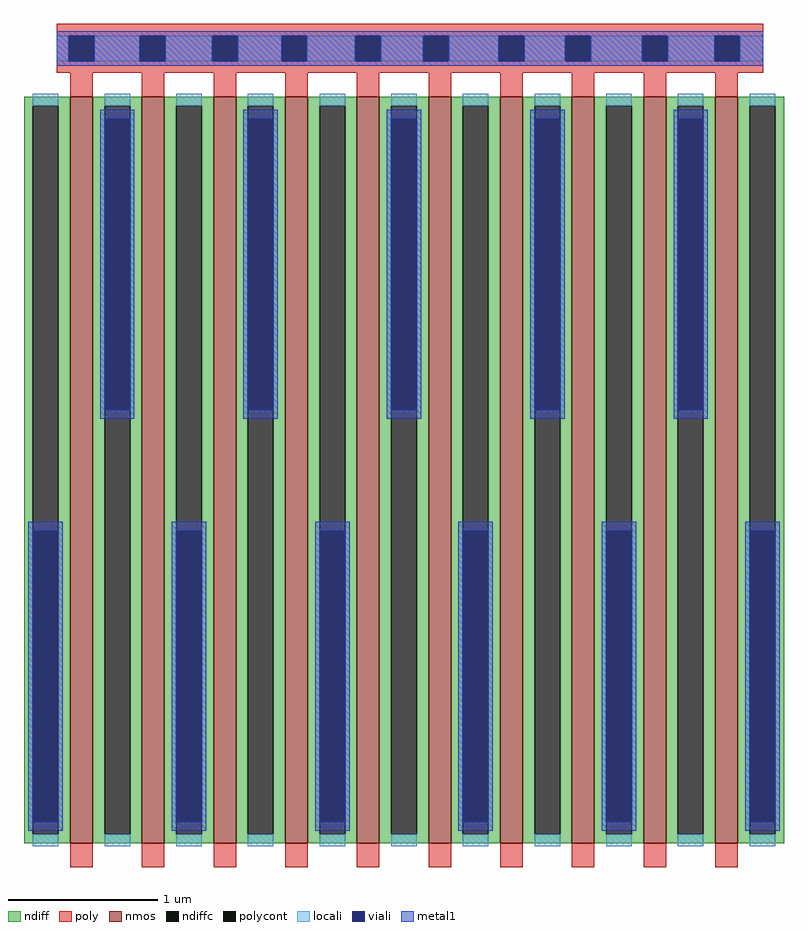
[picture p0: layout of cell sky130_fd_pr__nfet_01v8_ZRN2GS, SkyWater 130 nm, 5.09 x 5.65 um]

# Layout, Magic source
magic
tech sky130A
magscale 1 2
<< nmos >>
rect -447 -500 -417 500
rect -351 -500 -321 500
rect -255 -500 -225 500
rect -159 -500 -129 500
rect -63 -500 -33 500
rect 33 -500 63 500
rect 129 -500 159 500
rect 225 -500 255 500
rect 321 -500 351 500
rect 417 -500 447 500
<< ndiff >>
rect -509 488 -447 500
rect -509 -488 -497 488
rect -463 -488 -447 488
rect -509 -500 -447 -488
rect -417 488 -351 500
rect -417 -488 -401 488
rect -367 -488 -351 488
rect -417 -500 -351 -488
rect -321 488 -255 500
rect -321 -488 -305 488
rect -271 -488 -255 488
rect -321 -500 -255 -488
rect -225 488 -159 500
rect -225 -488 -209 488
rect -175 -488 -159 488
rect -225 -500 -159 -488
rect -129 488 -63 500
rect -129 -488 -113 488
rect -79 -488 -63 488
rect -129 -500 -63 -488
rect -33 488 33 500
rect -33 -488 -17 488
rect 17 -488 33 488
rect -33 -500 33 -488
rect 63 488 129 500
rect 63 -488 79 488
rect 113 -488 129 488
rect 63 -500 129 -488
rect 159 488 225 500
rect 159 -488 175 488
rect 209 -488 225 488
rect 159 -500 225 -488
rect 255 488 321 500
rect 255 -488 271 488
rect 305 -488 321 488
rect 255 -500 321 -488
rect 351 488 417 500
rect 351 -488 367 488
rect 401 -488 417 488
rect 351 -500 417 -488
rect 447 488 509 500
rect 447 -488 463 488
rect 497 -488 509 488
rect 447 -500 509 -488
<< ndiffc >>
rect -497 -488 -463 488
rect -401 -488 -367 488
rect -305 -488 -271 488
rect -209 -488 -175 488
rect -113 -488 -79 488
rect -17 -488 17 488
rect 79 -488 113 488
rect 175 -488 209 488
rect 271 -488 305 488
rect 367 -488 401 488
rect 463 -488 497 488
<< poly >>
rect -465 582 481 598
rect -465 548 -449 582
rect -415 548 -354 582
rect -320 548 -257 582
rect -223 548 -164 582
rect -130 548 -65 582
rect -31 548 26 582
rect 60 548 127 582
rect 161 548 216 582
rect 250 548 319 582
rect 353 548 416 582
rect 450 548 481 582
rect -465 532 481 548
rect -447 500 -417 532
rect -351 500 -321 532
rect -255 500 -225 532
rect -159 500 -129 532
rect -63 500 -33 532
rect 33 500 63 532
rect 129 500 159 532
rect 225 500 255 532
rect 321 500 351 532
rect 417 500 447 532
rect -447 -532 -417 -500
rect -351 -532 -321 -500
rect -255 -532 -225 -500
rect -159 -532 -129 -500
rect -63 -532 -33 -500
rect 33 -532 63 -500
rect 129 -532 159 -500
rect 225 -532 255 -500
rect 321 -532 351 -500
rect 417 -532 447 -500
<< polycont >>
rect -449 548 -415 582
rect -354 548 -320 582
rect -257 548 -223 582
rect -164 548 -130 582
rect -65 548 -31 582
rect 26 548 60 582
rect 127 548 161 582
rect 216 548 250 582
rect 319 548 353 582
rect 416 548 450 582
<< locali >>
rect -465 548 -449 582
rect -415 548 -354 582
rect -320 548 -257 582
rect -223 548 -164 582
rect -130 548 -65 582
rect -31 548 26 582
rect 60 548 127 582
rect 161 548 216 582
rect 250 548 319 582
rect 353 548 416 582
rect 450 548 481 582
rect -497 488 -463 504
rect -497 -504 -463 -488
rect -401 488 -367 504
rect -401 -504 -367 -488
rect -305 488 -271 504
rect -305 -504 -271 -488
rect -209 488 -175 504
rect -209 -504 -175 -488
rect -113 488 -79 504
rect -113 -504 -79 -488
rect -17 488 17 504
rect -17 -504 17 -488
rect 79 488 113 504
rect 79 -504 113 -488
rect 175 488 209 504
rect 175 -504 209 -488
rect 271 488 305 504
rect 271 -504 305 -488
rect 367 488 401 504
rect 367 -504 401 -488
rect 463 488 497 504
rect 463 -504 497 -488
<< viali >>
rect -449 548 -415 582
rect -354 548 -320 582
rect -257 548 -223 582
rect -164 548 -130 582
rect -65 548 -31 582
rect 26 548 60 582
rect 127 548 161 582
rect 216 548 250 582
rect 319 548 353 582
rect 416 548 450 582
rect -497 -471 -463 -81
rect -401 81 -367 471
rect -305 -471 -271 -81
rect -209 81 -175 471
rect -113 -471 -79 -81
rect -17 81 17 471
rect 79 -471 113 -81
rect 175 81 209 471
rect 271 -471 305 -81
rect 367 81 401 471
rect 463 -471 497 -81
<< metal1 >>
rect -465 582 481 588
rect -465 548 -449 582
rect -415 548 -354 582
rect -320 548 -257 582
rect -223 548 -164 582
rect -130 548 -65 582
rect -31 548 26 582
rect 60 548 127 582
rect 161 548 216 582
rect 250 548 319 582
rect 353 548 416 582
rect 450 548 481 582
rect -465 542 481 548
rect -407 471 -361 483
rect -407 81 -401 471
rect -367 81 -361 471
rect -407 69 -361 81
rect -215 471 -169 483
rect -215 81 -209 471
rect -175 81 -169 471
rect -215 69 -169 81
rect -23 471 23 483
rect -23 81 -17 471
rect 17 81 23 471
rect -23 69 23 81
rect 169 471 215 483
rect 169 81 175 471
rect 209 81 215 471
rect 169 69 215 81
rect 361 471 407 483
rect 361 81 367 471
rect 401 81 407 471
rect 361 69 407 81
rect -503 -81 -457 -69
rect -503 -471 -497 -81
rect -463 -471 -457 -81
rect -503 -483 -457 -471
rect -311 -81 -265 -69
rect -311 -471 -305 -81
rect -271 -471 -265 -81
rect -311 -483 -265 -471
rect -119 -81 -73 -69
rect -119 -471 -113 -81
rect -79 -471 -73 -81
rect -119 -483 -73 -471
rect 73 -81 119 -69
rect 73 -471 79 -81
rect 113 -471 119 -81
rect 73 -483 119 -471
rect 265 -81 311 -69
rect 265 -471 271 -81
rect 305 -471 311 -81
rect 265 -483 311 -471
rect 457 -81 503 -69
rect 457 -471 463 -81
rect 497 -471 503 -81
rect 457 -483 503 -471
<< properties >>
string gencell sky130_fd_pr__nfet_01v8
string library sky130
string parameters w 5.0 l 0.15 m 1 nf 10 diffcov 100 polycov 100 guard 0 glc 1 grc 1 gtc 1 gbc 1 tbcov 100 rlcov 100 topc 1 botc 0 poverlap 0 doverlap 1 lmin 0.15 wmin 0.42 compatible {sky130_fd_pr__nfet_01v8 sky130_fd_pr__nfet_01v8_lvt  sky130_fd_bs_flash__special_sonosfet_star  sky130_fd_pr__nfet_g5v0d10v5 sky130_fd_pr__nfet_05v0_nvt  sky130_fd_pr__nfet_03v3_nvt} full_metal 1 viasrc -40 viadrn +40 viagate 100 viagb 0 viagr 0 viagl 0 viagt 0
<< end >>
